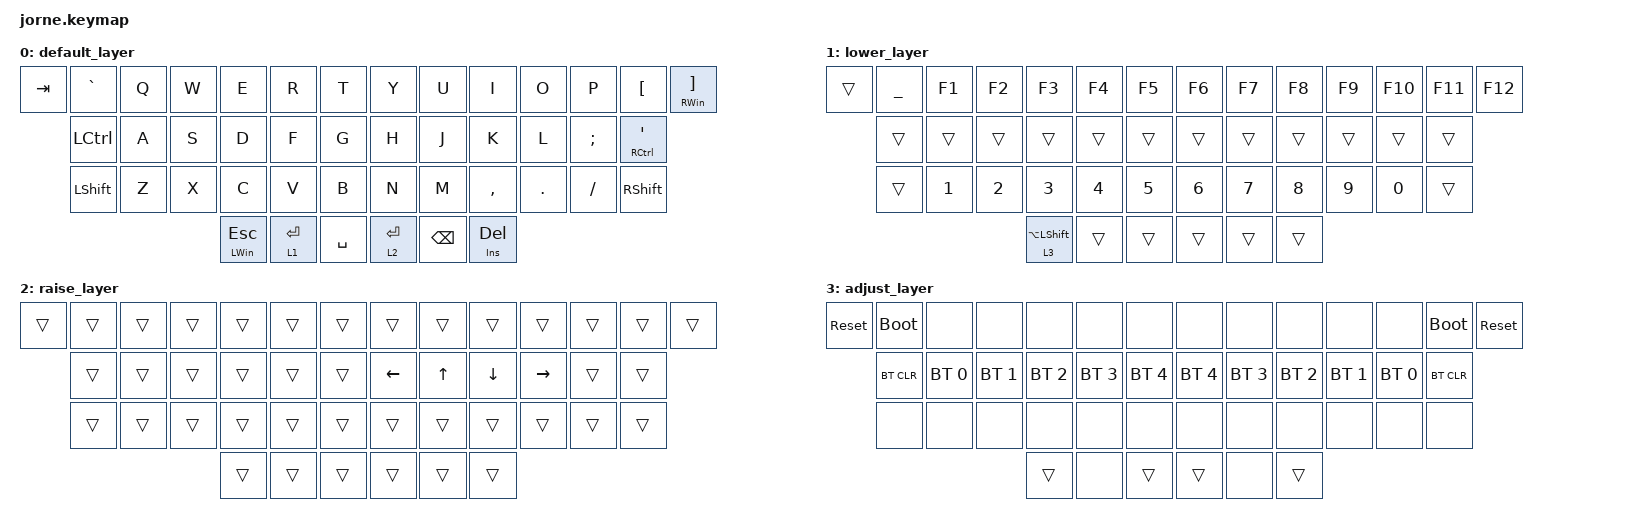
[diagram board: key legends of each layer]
/*
 * Copyright (c) 2020 The ZMK Contributors
 *
 * SPDX-License-Identifier: MIT
 */

#include <behaviors.dtsi>
#include <dt-bindings/zmk/bt.h>
#include <dt-bindings/zmk/keys.h>

#define DEF 0
#define LWR 1
#define RSE 2
#define ADJ 3

/ {
    keymap {
        compatible = "zmk,keymap";

        default_layer {
            // -----------------------------------------------------------------------------------------
            // |  GUI |   ~  |  Q  |  W  |  E  |  R  |  T  |   |  Y  |  U   |  I  |  O  |  P  |  [   | GUI/] |
            //        | CTRL |  A  |  S  |  D  |  F  |  G  |   |  H  |  J   |  K  |  L  |  ;  |CTRL/'|
            //        | LALT |  Z  |  X  |  C  |  V  |  B  |   |  N  |  M   |  ,  |  .  |  /  | RALT |
            //                           | RSE | SPC | LWR |   | LWR | BKSP | RSE |

            bindings = <
&kp TAB  &kp GRAVE       &kp Q  &kp W  &kp E                &kp R         &kp T        &kp Y      &kp U          &kp I           &kp O    &kp P     &kp LBKT         &mt RWIN RBKT
         &kp LCTRL       &kp A  &kp S  &kp D                &kp F         &kp G        &kp H      &kp J          &kp K           &kp L    &kp SEMI  &mt RCTRL SQT
         &kp LEFT_SHIFT  &kp Z  &kp X  &kp C                &kp V         &kp B        &kp N      &kp M          &kp COMMA       &kp DOT  &kp FSLH  &kp RIGHT_SHIFT
                                       &mt LEFT_WIN ESCAPE  &lt 1 RETURN  &kp SPACE    &lt 2 RET  &kp BACKSPACE  &mt INSERT DEL
            >;
        };

        lower_layer {
            // -----------------------------------------------------------------------------------------
            // |     |  _  |  F1 |  F2 |  F3 |  F4 |  F5 |   |  F6 |  F7 |  F8 |  F9 | F10 | F11 | F12 |
            //       |  +  |  !  |  @  |  #  |  $  |  %  |   |  ^  |  &  |  *  |  (  |  )  |  -  |
            //       |  =  |  1  |  2  |  3  |  4  |  5  |   |  6  |  7  |  8  |  9  |  0  |     |
            //                    | GUI |     | SPC |   | ENT |     | ALT |

            bindings = <
&trans  &kp UNDERSCORE  &kp F1  &kp F2  &kp F3                &kp F4  &kp F5    &kp F6  &kp F7  &kp F8  &kp F9  &kp F10  &kp F11  &kp F12
        &trans          &trans  &trans  &trans                &trans  &trans    &trans  &trans  &trans  &trans  &trans   &trans
        &trans          &kp N1  &kp N2  &kp N3                &kp N4  &kp N5    &kp N6  &kp N7  &kp N8  &kp N9  &kp N0   &trans
                                        &lt 3 LA(LEFT_SHIFT)  &trans  &trans    &trans  &trans  &trans
            >;
        };

        raise_layer {
            bindings = <
&trans  &trans  &trans  &trans  &trans  &trans  &trans    &trans    &trans        &trans          &trans     &trans  &trans  &trans
        &trans  &trans  &trans  &trans  &trans  &trans    &kp LEFT  &kp UP_ARROW  &kp DOWN_ARROW  &kp RIGHT  &trans  &trans
        &trans  &trans  &trans  &trans  &trans  &trans    &trans    &trans        &trans          &trans     &trans  &trans
                                &trans  &trans  &trans    &trans    &trans        &trans
            >;
        };

        adjust_layer {
            // -----------------------------------------------------------------------------------------
            // | RST | BLDR |     |     |     |     |     |   |     |     |     |     |     | BLDR | RST |
            //       | BTCLR| BT0 | BT1 | BT2 | BT3 | BT4 |   | BT4 | BT3 | BT2 | BT1 | BT0 | BTCLR|
            //       |      |     |     |     |     |     |   |     |     |     |     |     |      |
            //                          |     |     |     |   |     |     |     |

            bindings = <
&sys_reset  &bootloader  &none         &none         &none         &none         &none           &none         &none         &none         &none         &none         &bootloader  &sys_reset
            &bt BT_CLR   &bt BT_SEL 0  &bt BT_SEL 1  &bt BT_SEL 2  &bt BT_SEL 3  &bt BT_SEL 4    &bt BT_SEL 4  &bt BT_SEL 3  &bt BT_SEL 2  &bt BT_SEL 1  &bt BT_SEL 0  &bt BT_CLR
            &none        &none         &none         &none         &none         &none           &none         &none         &none         &none         &none         &none
                                                     &trans        &none         &trans          &trans        &none         &trans
            >;
        };
    };
};
